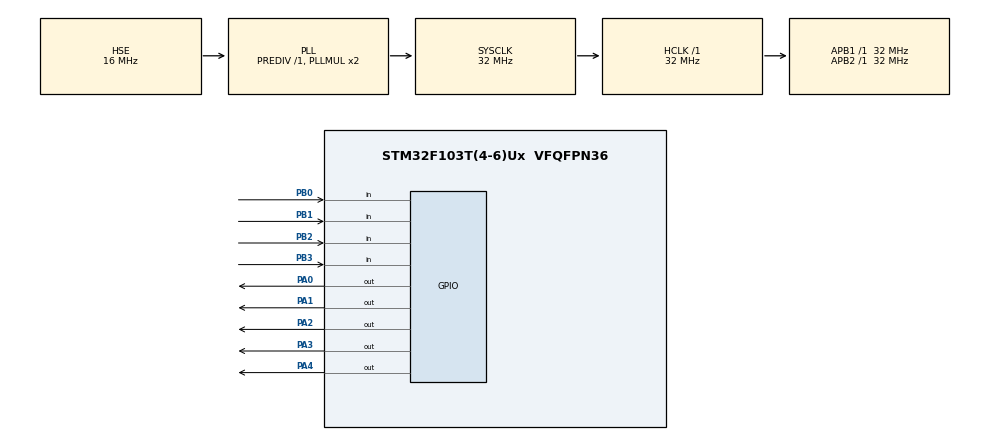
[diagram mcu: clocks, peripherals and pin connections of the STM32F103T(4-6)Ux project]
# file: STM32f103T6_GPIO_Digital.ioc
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Mcu.Family=STM32F1
Mcu.Name=STM32F103T(4-6)Ux
Mcu.Package=VFQFPN36
NVIC.PriorityGroup=NVIC_PRIORITYGROUP_4
PA0-WKUP.Signal=GPIO_Output
PA1.Signal=GPIO_Output
PA2.Signal=GPIO_Output
PA3.Signal=GPIO_Output
PA4.Signal=GPIO_Output
PB0.GPIO_PuPd=GPIO_PULLDOWN
PB0.Signal=GPIO_Input
PB1.GPIO_PuPd=GPIO_PULLDOWN
PB1.Signal=GPIO_Input
PB2.GPIO_PuPd=GPIO_PULLDOWN
PB2.Signal=GPIO_Input
PB3.GPIO_PuPd=GPIO_PULLDOWN
PB3.Signal=GPIO_Input
PD0-OSC_IN.Mode=HSE-External-Oscillator
PD0-OSC_IN.Signal=RCC_OSC_IN
PD1-OSC_OUT.Mode=HSE-External-Oscillator
PD1-OSC_OUT.Signal=RCC_OSC_OUT
ProjectManager.HeapSize=0x200
ProjectManager.StackSize=0x400
ProjectManager.TargetToolchain=MDK-ARM V5
RCC.AHBFreq_Value=32000000
RCC.APB1Freq_Value=32000000
RCC.APB1TimFreq_Value=32000000
RCC.APB2Freq_Value=32000000
RCC.APB2TimFreq_Value=32000000
RCC.HCLKFreq_Value=32000000
RCC.HSE_VALUE=16000000
RCC.PLLSourceVirtual=RCC_PLLSOURCE_HSE
RCC.SYSCLKFreq_VALUE=32000000
RCC.SYSCLKSource=RCC_SYSCLKSOURCE_PLLCLK
RCC.USBFreq_Value=32000000
VP_SYS_VS_ND.Mode=No_Debug
board=custom

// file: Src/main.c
/* USER CODE BEGIN Header */
/**
  ******************************************************************************
  * @file           : main.c
  * @brief          : Main program body
  ******************************************************************************
  * @attention
  *
  * <h2><center>&copy; Copyright (c) 2019 STMicroelectronics.
  * All rights reserved.</center></h2>
  *
  * This software component is licensed by ST under BSD 3-Clause license,
  * the "License"; You may not use this file except in compliance with the
  * License. You may obtain a copy of the License at:
  *                        opensource.org/licenses/BSD-3-Clause
  *
  ******************************************************************************
  */
/* USER CODE END Header */

#include "main.h"

/* USER CODE BEGIN PD */
#define BT_GPIO GPIOB
#define BT1_PORT GPIO_PIN_0
#define BT2_PORT GPIO_PIN_1
#define BT3_PORT GPIO_PIN_2
#define BT4_PORT GPIO_PIN_3
#define LED_GPIO GPIOA
#define LED1_PORT GPIO_PIN_0
#define LED2_PORT GPIO_PIN_1
#define LED3_PORT GPIO_PIN_2
#define LED4_PORT GPIO_PIN_3
#define LED5_PORT GPIO_PIN_4
/* USER CODE END PD */

void SystemClock_Config(void);
static void MX_GPIO_Init(void);

int main(void)
{

  /* MCU Configuration--------------------------------------------------------*/

  /* Reset of all peripherals, Initializes the Flash interface and the Systick. */
  HAL_Init();

  /* Configure the system clock */
  SystemClock_Config();

  /* Initialize all configured peripherals */
  MX_GPIO_Init();
  /* USER CODE BEGIN 2 */
	HAL_GPIO_WritePin(LED_GPIO, LED2_PORT, GPIO_PIN_SET);
  /* USER CODE END 2 */

  /* Infinite loop */
  /* USER CODE BEGIN WHILE */
  while (1)
  {

		if(HAL_GPIO_ReadPin(BT_GPIO, BT2_PORT)){
			HAL_GPIO_WritePin(LED_GPIO, LED2_PORT|LED3_PORT, GPIO_PIN_SET);
		}
		else{
			HAL_GPIO_WritePin(LED_GPIO, LED2_PORT|LED3_PORT, GPIO_PIN_RESET);
		}

		if(HAL_GPIO_ReadPin(BT_GPIO, BT1_PORT)){
			HAL_GPIO_WritePin(LED_GPIO, LED1_PORT, GPIO_PIN_SET);
		}
		else{
			HAL_GPIO_WritePin(LED_GPIO, LED1_PORT, GPIO_PIN_RESET);
		}

		if(HAL_GPIO_ReadPin(BT_GPIO, BT3_PORT)){
			HAL_GPIO_TogglePin(LED_GPIO, LED4_PORT|LED5_PORT);
		}
    HAL_Delay(100);
  }
	/* USER CODE END WHILE */

}

void SystemClock_Config(void)
{
  RCC_OscInitTypeDef RCC_OscInitStruct = {0};
  RCC_ClkInitTypeDef RCC_ClkInitStruct = {0};

  /** Initializes the CPU, AHB and APB busses clocks
  */
  RCC_OscInitStruct.OscillatorType = RCC_OSCILLATORTYPE_HSE;
  RCC_OscInitStruct.HSEState = RCC_HSE_ON;
  RCC_OscInitStruct.HSEPredivValue = RCC_HSE_PREDIV_DIV1;
  RCC_OscInitStruct.HSIState = RCC_HSI_ON;
  RCC_OscInitStruct.PLL.PLLState = RCC_PLL_ON;
  RCC_OscInitStruct.PLL.PLLSource = RCC_PLLSOURCE_HSE;
  RCC_OscInitStruct.PLL.PLLMUL = RCC_PLL_MUL2;
  if (HAL_RCC_OscConfig(&RCC_OscInitStruct) != HAL_OK)
  {
    Error_Handler();
  }
  /** Initializes the CPU, AHB and APB busses clocks
  */
  RCC_ClkInitStruct.ClockType = RCC_CLOCKTYPE_HCLK|RCC_CLOCKTYPE_SYSCLK
                              |RCC_CLOCKTYPE_PCLK1|RCC_CLOCKTYPE_PCLK2;
  RCC_ClkInitStruct.SYSCLKSource = RCC_SYSCLKSOURCE_PLLCLK;
  RCC_ClkInitStruct.AHBCLKDivider = RCC_SYSCLK_DIV1;
  RCC_ClkInitStruct.APB1CLKDivider = RCC_HCLK_DIV1;
  RCC_ClkInitStruct.APB2CLKDivider = RCC_HCLK_DIV1;

  if (HAL_RCC_ClockConfig(&RCC_ClkInitStruct, FLASH_LATENCY_1) != HAL_OK)
  {
    Error_Handler();
  }
}

static void MX_GPIO_Init(void)
{
  GPIO_InitTypeDef GPIO_InitStruct = {0};

  /* GPIO Ports Clock Enable */
  __HAL_RCC_GPIOD_CLK_ENABLE();
  __HAL_RCC_GPIOA_CLK_ENABLE();
  __HAL_RCC_GPIOB_CLK_ENABLE();

  /*Configure GPIO pin Output Level */
  HAL_GPIO_WritePin(GPIOA, GPIO_PIN_0|GPIO_PIN_1|GPIO_PIN_2|GPIO_PIN_3
                          |GPIO_PIN_4, GPIO_PIN_RESET);

  /*Configure GPIO pins : PA0 PA1 PA2 PA3
                           PA4 */
  GPIO_InitStruct.Pin = GPIO_PIN_0|GPIO_PIN_1|GPIO_PIN_2|GPIO_PIN_3
                          |GPIO_PIN_4;
  GPIO_InitStruct.Mode = GPIO_MODE_OUTPUT_PP;
  GPIO_InitStruct.Pull = GPIO_NOPULL;
  GPIO_InitStruct.Speed = GPIO_SPEED_FREQ_LOW;
  HAL_GPIO_Init(GPIOA, &GPIO_InitStruct);

  /*Configure GPIO pins : PB0 PB1 PB2 PB3 */
  GPIO_InitStruct.Pin = GPIO_PIN_0|GPIO_PIN_1|GPIO_PIN_2|GPIO_PIN_3;
  GPIO_InitStruct.Mode = GPIO_MODE_INPUT;
  GPIO_InitStruct.Pull = GPIO_PULLDOWN;
  HAL_GPIO_Init(GPIOB, &GPIO_InitStruct);

}

void Error_Handler(void)
{
}

/************************ (C) COPYRIGHT STMicroelectronics *****END OF FILE****/
